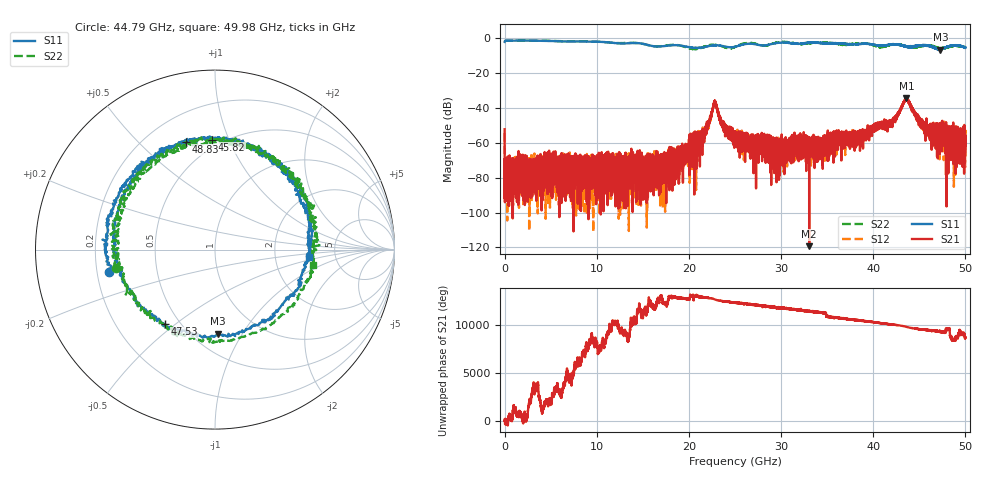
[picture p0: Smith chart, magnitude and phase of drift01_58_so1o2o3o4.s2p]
!Created with skrf (http://scikit-rf.org).
# Hz S RI R 50.0
!freq ReS11 ImS11 ReS21 ImS21 ReS12 ImS12 ReS22 ImS22
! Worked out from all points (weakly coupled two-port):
!   10001 points, 300 kHz to 50 GHz, reference 50 ohm
!   highest |S21| = -34.42 dB at 43.61 GHz (marker M1); lowest = -119.3 dB at 33.05 GHz (marker M2)
!   lowest |S11| = -6.6 dB at 47.28 GHz (marker M3), VSWR 2.76, Z = 33 - j39.5 ohm
!   |S11| at or under -10 dB: nowhere
!   |S22| runs from -6.4 to -1.4 dB; largest |S21 - S12| = 0.0039
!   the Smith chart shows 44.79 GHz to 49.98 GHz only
!   S11 on the Smith chart (normalised r, x): 44.79 GHz: 0.25, -0.10; 45.82 GHz: 0.44, +0.87; 47.53 GHz: 0.41, -0.46; 48.83 GHz: 0.36, +0.70; 49.98 GHz: 3.18, -0.34
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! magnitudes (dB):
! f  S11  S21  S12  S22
! 300 kHz  -2.1  -52.2  -54.4  -2.1
! 260.3 MHz  -1.4  -76.4  -80.5  -1.4
! 8.335 GHz  -1.9  -87.8  -73.3  -1.8
! 16.67 GHz  -4.8  -74.9  -72.2  -4.8
! 20.96 GHz  -5.6  -61.0  -58.7  -6.1
! 21.7 GHz  -5.2  -56.1  -54.1  -4.9
! 22.8 GHz  -4.3  -36.2  -36.3  -4.0
! 23.74 GHz  -4.6  -50.1  -50.1  -5.0
! 25 GHz  -5.0  -61.2  -57.1  -5.0
! 29.67 GHz  -2.7  -62.3  -60.3  -2.4
! 33.05 GHz  -2.6  -119.3  -62.0  -2.8
! 33.34 GHz  -2.6  -59.8  -62.0  -2.7
! 38.06 GHz  -3.5  -56.6  -57.6  -3.3
! 41.67 GHz  -3.9  -49.0  -48.4  -4.0
! 43.61 GHz  -4.7  -34.4  -35.0  -4.7
! 44.79 GHz  -4.4  -46.4  -45.0  -5.0
! 45.82 GHz  -4.3  -52.1  -49.8  -4.3
! 47.28 GHz  -6.6  -55.6  -56.0  -5.8
! 47.53 GHz  -6.0  -50.9  -50.4  -5.6
! 48.83 GHz  -4.1  -60.0  -53.9  -4.5
! 49.98 GHz  -5.6  -59.8  -55.8  -5.2
! 50 GHz  -5.5  -60.8  -56.4  -5.2
